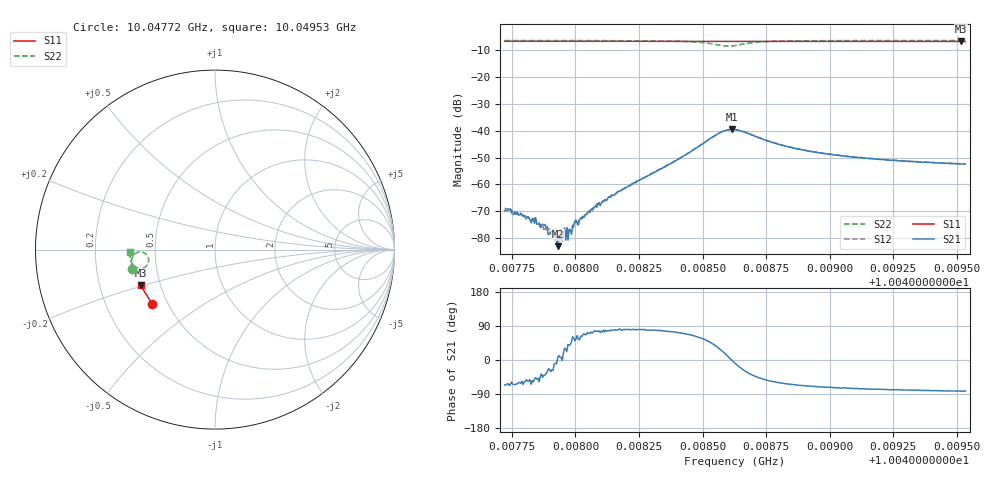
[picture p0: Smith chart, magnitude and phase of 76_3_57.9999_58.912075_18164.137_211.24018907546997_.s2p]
#  HZ  S  RI  R  50.00
! Rohde & Schwarz Vector Network Analyzer
! Rohde-Schwarz,ZNB20-2Port,1311601062101988,3.16
! Created: UTC 3/21/2024, 12:53:42 AM
! freq[Hz]  re:S11  im:S11  re:S21  im:S21  re:S12  im:S12  re:S22  im:S22
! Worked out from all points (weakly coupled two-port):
!   401 points, 10.04772 GHz to 10.04953 GHz, reference 50 ohm
!   highest |S21| = -39.51 dB at 10.04861 GHz (marker M1); lowest = -83.0 dB at 10.04793 GHz (marker M2)
!   lowest |S11| = -6.8 dB at 10.04952 GHz (marker M3), VSWR 2.68, Z = 19.5 - j9.84 ohm
!   |S11| at or under -10 dB: nowhere
!   |S22| runs from -8.5 to -6.5 dB; largest |S21 - S12| = 0.00072
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1.0047721e10  -0.3483 -0.3003  0.000128 -0.00029  0.000175 -0.000319  -0.4627 -0.1107
1.0047735e10  -0.3489 -0.2996  0.000163 -0.000315  0.000166 -0.00027  -0.4629 -0.1097
1.0047807e10  -0.3518 -0.2958  0.000147 -0.000187  0.000142 -0.000193  -0.4638 -0.1039
1.0047848e10  -0.3536 -0.2936  0.000116 -0.000141  0.000134 -0.000152  -0.4644 -0.1008
1.0047875e10  -0.3547 -0.2921  0.000129 -0.000109  0.000126 -7.1e-05  -0.4648 -0.0985
1.0047889e10  -0.3552 -0.2914  0.000122 -7.71e-05  0.000142 -8.78e-05  -0.465 -0.0976
1.0047916e10  -0.3563 -0.2899  0.000107 -2.03e-05  9.15e-05 -1.73e-05  -0.4652 -0.0953
1.004793e10  -0.3569 -0.2892  7.1e-05 5.11e-06  0.00012 3.06e-05  -0.4652 -0.0942
1.0047961e10  -0.3582 -0.2876  8.12e-05 4.42e-05  9.39e-05 6.25e-05  -0.4655 -0.0917
1.004798e10  -0.3589 -0.2866  0.00011 9.57e-05  0.000106 8.83e-05  -0.4656 -0.09
1.0047998e10  -0.3595 -0.2856  0.000133 0.000162  0.000112 0.000157  -0.4659 -0.0885
1.0048025e10  -0.3607 -0.2842  0.000106 0.0002  7.7e-05 0.000234  -0.4662 -0.0859
1.0048093e10  -0.3634 -0.2805  0.000102 0.000443  8.42e-05 0.000448  -0.4667 -0.0795
1.0048328e10  -0.3724 -0.2677  0.000423 0.00184  0.000291 0.00184  -0.4636 -0.0511
1.0048559e10  -0.3801 -0.2544  0.00724 0.00477  0.00699 0.00525  -0.3944 -0.0179
1.0048614e10  -0.3815 -0.2517  0.0106 8.78e-06  0.0106 0.000718  -0.3698 -0.0653
1.0048627e10  -0.3819 -0.2511  0.0104 -0.00155  0.0105 -0.000878  -0.3742 -0.079
1.0048795e10  -0.3885 -0.2423  0.00288 -0.00484  0.00322 -0.00471  -0.4526 -0.0899
1.0048931e10  -0.393 -0.2343  0.00142 -0.00381  0.00167 -0.00376  -0.4659 -0.0685
1.0049235e10  -0.4026 -0.2165  0.00055 -0.00277  0.000758 -0.00275  -0.4731 -0.0374
1.0049515e10  -0.4106 -0.1997  0.000328 -0.00239  0.000454 -0.00237  -0.4748 -0.0148
1.0049534e10  -0.4111 -0.1987  0.000333 -0.00239  0.000481 -0.00238  -0.4748 -0.0135
